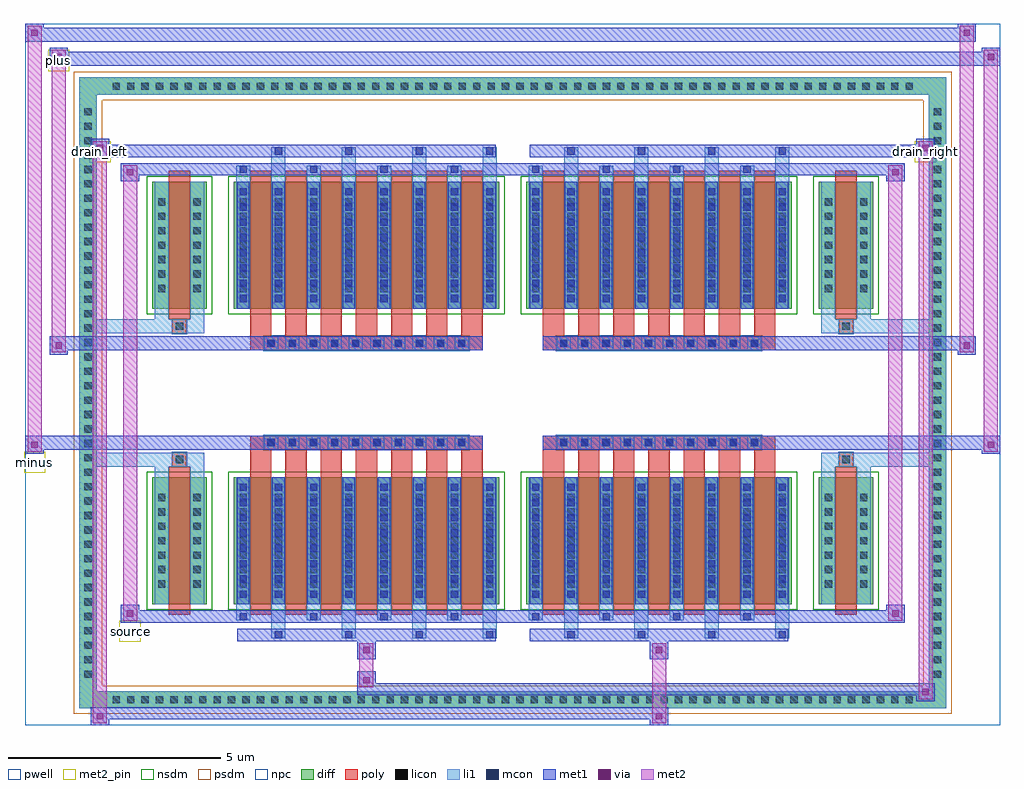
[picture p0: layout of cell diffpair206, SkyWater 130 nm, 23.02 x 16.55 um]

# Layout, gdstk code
import gdstk
lib = gdstk.Library(unit=1e-6, precision=5e-09)
def R(c, l, rs):  # rectangles x0, y0, x1, y1
    for r in rs: c.add(gdstk.rectangle(r[:2], r[2:], *l))
def A(c, l, x, y, w, h, nx, ny, dx, dy):  # array of equal rectangles
    R(c, l, [(x+i*dx, y+j*dy, x+i*dx+w, y+j*dy+h) for i in range(nx) for j in range(ny)])
def P(c, l, *ps):  # polygons
    for p in ps: c.add(gdstk.Polygon(p, *l))
pwell = (64, 44)
diff = (65, 20)
poly = (66, 20)
licon = (66, 44)
li1 = (67, 20)
mcon = (67, 44)
met1 = (68, 20)
via = (68, 44)
met2_pin = (69, 16)
met2 = (69, 20)
nsdm = (93, 44)
psdm = (94, 20)
npc = (95, 20)

diffpair206 = lib.new_cell('diffpair206')
R(diffpair206, pwell, [(-11.49,-7.84,11.49,8.71), (-8.81,-6.03,-0.01,-0.805), (0.01,-6.03,8.81,-0.805), (-8.81,0.805,-0.01,6.03), (0.01,0.805,8.81,6.03)])
A(diffpair206, diff, -9.555, -7.44, 0.41, 0.41, 56, 2, 0.34, 14.47)
A(diffpair206, diff, -10.22, -6.835, 0.41, 0.41, 1, 40, 0, 0.34)
A(diffpair206, diff, 9.81, -6.835, 0.41, 0.41, 1, 40, 0, 0.34)
R(diffpair206, diff, [(-9.555,-7.44,9.555,-7.03), (-10.22,-6.835,-9.81,6.835), (9.81,-6.835,10.22,6.835), (-8.5,-4.985,-7.22,-1.985), (-6.58,-4.985,-0.32,-1.985), (0.32,-4.985,6.58,-1.985), (7.22,-4.985,8.5,-1.985), (-8.5,1.985,-7.22,4.985), (-6.58,1.985,-0.32,4.985), (0.32,1.985,6.58,4.985), (7.22,1.985,8.5,4.985), (-9.555,7.03,9.555,7.44)])
P(diffpair206, diff, [(10.22,7.44),(-10.22,7.44),(-10.22,-7.03),(-9.81,-7.03),(-9.81,7.03),(9.81,7.03),(9.81,-7.03),(-9.81,-7.03),(-10.22,-7.03),(-10.22,-7.44),(10.22,-7.44)])
A(diffpair206, poly, -6.19, -5.235, 0.5, 3.5, 7, 2, 0.83, 6.97)
A(diffpair206, poly, 0.71, -5.235, 0.5, 3.5, 7, 2, 0.83, 6.97)
A(diffpair206, poly, -6.19, -1.735, 0.5, 0.4, 7, 2, 0.83, 3.07)
A(diffpair206, poly, 0.71, -1.735, 0.5, 0.4, 7, 2, 0.83, 3.07)
A(diffpair206, poly, -5.865, -1.335, 0.33, 0.33, 10, 2, 0.5, 2.34)
A(diffpair206, poly, 1.035, -1.335, 0.33, 0.33, 10, 2, 0.5, 2.34)
R(diffpair206, poly, [(-8.11,-5.235,-7.61,-1.735), (7.61,-5.235,8.11,-1.735), (-8.025,-1.735,-7.695,-1.405), (-8.025,-1.735,-7.695,-1.405), (7.695,-1.735,8.025,-1.405), (7.695,-1.735,8.025,-1.405), (-6.19,-1.335,-0.71,-1.005), (0.71,-1.335,6.19,-1.005), (-6.19,1.005,-0.71,1.335), (0.71,1.005,6.19,1.335), (-8.025,1.405,-7.695,1.735), (-8.025,1.405,-7.695,1.735), (7.695,1.405,8.025,1.735), (7.695,1.405,8.025,1.735), (-8.11,1.735,-7.61,5.235), (7.61,1.735,8.11,5.235)])
A(diffpair206, licon, -9.435, -7.32, 0.17, 0.17, 56, 2, 0.34, 14.47)
A(diffpair206, licon, -10.1, -6.715, 0.17, 0.17, 1, 40, 0, 0.34)
A(diffpair206, licon, 9.93, -6.715, 0.17, 0.17, 1, 40, 0, 0.34)
A(diffpair206, licon, -8.36, -4.59, 0.17, 0.17, 1, 7, 0, 0.34)
A(diffpair206, licon, -7.53, -4.59, 0.17, 0.17, 1, 7, 0, 0.34)
A(diffpair206, licon, -6.44, -4.59, 0.17, 0.17, 8, 7, 0.83, 0.34)
A(diffpair206, licon, 0.46, -4.59, 0.17, 0.17, 8, 7, 0.83, 0.34)
A(diffpair206, licon, 7.36, -4.59, 0.17, 0.17, 1, 7, 0, 0.34)
A(diffpair206, licon, 8.19, -4.59, 0.17, 0.17, 1, 7, 0, 0.34)
A(diffpair206, licon, -5.785, -1.255, 0.17, 0.17, 10, 2, 0.5, 2.34)
A(diffpair206, licon, 1.115, -1.255, 0.17, 0.17, 10, 2, 0.5, 2.34)
A(diffpair206, licon, -8.36, 2.38, 0.17, 0.17, 1, 7, 0, 0.34)
A(diffpair206, licon, -7.53, 2.38, 0.17, 0.17, 1, 7, 0, 0.34)
A(diffpair206, licon, -6.44, 2.38, 0.17, 0.17, 8, 7, 0.83, 0.34)
A(diffpair206, licon, 0.46, 2.38, 0.17, 0.17, 8, 7, 0.83, 0.34)
A(diffpair206, licon, 7.36, 2.38, 0.17, 0.17, 1, 7, 0, 0.34)
A(diffpair206, licon, 8.19, 2.38, 0.17, 0.17, 1, 7, 0, 0.34)
R(diffpair206, licon, [(-7.945,-1.655,-7.775,-1.485), (7.775,-1.655,7.945,-1.485), (-7.945,1.485,-7.775,1.655), (7.775,1.485,7.945,1.655)])
A(diffpair206, li1, -9.515, -7.4, 0.33, 0.33, 56, 2, 0.34, 14.47)
A(diffpair206, li1, -10.18, -6.795, 0.33, 0.33, 1, 40, 0, 0.34)
A(diffpair206, li1, 9.85, -6.795, 0.33, 0.33, 1, 40, 0, 0.34)
A(diffpair206, li1, -5.69, -5.79, 0.33, 0.805, 4, 2, 1.66, 10.775)
A(diffpair206, li1, -5.61, -5.79, 0.17, 0.17, 4, 2, 1.66, 11.41)
A(diffpair206, li1, 1.21, -5.79, 0.33, 0.805, 4, 2, 1.66, 10.775)
A(diffpair206, li1, 1.29, -5.79, 0.17, 0.17, 4, 2, 1.66, 11.41)
A(diffpair206, li1, -6.52, -5.36, 0.33, 0.375, 4, 2, 1.66, 10.345)
A(diffpair206, li1, -6.44, -5.36, 0.17, 0.17, 4, 2, 1.66, 10.55)
A(diffpair206, li1, 0.38, -5.36, 0.33, 0.375, 4, 2, 1.66, 10.345)
A(diffpair206, li1, 0.46, -5.36, 0.17, 0.17, 4, 2, 1.66, 10.55)
A(diffpair206, li1, -6.52, -4.985, 0.33, 3, 8, 2, 0.83, 6.97)
A(diffpair206, li1, 0.38, -4.985, 0.33, 3, 8, 2, 0.83, 6.97)
A(diffpair206, li1, -6.44, -4.83, 0.17, 0.17, 8, 8, 0.83, 0.36)
A(diffpair206, li1, -6.44, -4.83, 0.17, 2.69, 8, 2, 0.83, 6.97)
A(diffpair206, li1, 0.46, -4.83, 0.17, 0.17, 8, 8, 0.83, 0.36)
A(diffpair206, li1, 0.46, -4.83, 0.17, 2.69, 8, 2, 0.83, 6.97)
A(diffpair206, li1, -8.44, -4.67, 0.33, 0.33, 1, 7, 0, 0.34)
A(diffpair206, li1, -7.61, -4.67, 0.33, 0.33, 1, 7, 0, 0.34)
A(diffpair206, li1, -6.52, -4.67, 0.33, 0.33, 8, 7, 0.83, 0.34)
A(diffpair206, li1, 0.38, -4.67, 0.33, 0.33, 8, 7, 0.83, 0.34)
A(diffpair206, li1, 7.28, -4.67, 0.33, 0.33, 1, 7, 0, 0.34)
A(diffpair206, li1, 8.11, -4.67, 0.33, 0.33, 1, 7, 0, 0.34)
A(diffpair206, li1, -5.865, -1.335, 0.33, 0.33, 10, 2, 0.5, 2.34)
A(diffpair206, li1, 1.035, -1.335, 0.33, 0.33, 10, 2, 0.5, 2.34)
A(diffpair206, li1, -6.44, 2.14, 0.17, 0.17, 8, 8, 0.83, 0.36)
A(diffpair206, li1, 0.46, 2.14, 0.17, 0.17, 8, 8, 0.83, 0.36)
A(diffpair206, li1, -8.44, 2.3, 0.33, 0.33, 1, 7, 0, 0.34)
A(diffpair206, li1, -7.61, 2.3, 0.33, 0.33, 1, 7, 0, 0.34)
A(diffpair206, li1, -6.52, 2.3, 0.33, 0.33, 8, 7, 0.83, 0.34)
A(diffpair206, li1, 0.38, 2.3, 0.33, 0.33, 8, 7, 0.83, 0.34)
A(diffpair206, li1, 7.28, 2.3, 0.33, 0.33, 1, 7, 0, 0.34)
A(diffpair206, li1, 8.11, 2.3, 0.33, 0.33, 1, 7, 0, 0.34)
R(diffpair206, li1, [(-10.22,-7.44,-9.81,-7.03), (-10.22,-7.44,-9.81,-7.03), (-9.81,-7.44,9.81,-7.03), (9.81,-7.44,10.22,-7.03), (9.81,-7.44,10.22,-7.03), (-10.22,-7.03,-9.81,7.03), (9.81,-7.03,10.22,7.03), (-8.44,-4.985,-8.11,-1.985), (-7.61,-4.985,-7.28,-1.985), (7.28,-4.985,7.61,-1.985), (8.11,-4.985,8.44,-1.985), (-8.44,-1.985,-8.11,-1.405), (-7.61,-1.985,-7.28,-1.405), (7.28,-1.985,7.61,-1.405), (8.11,-1.985,8.44,-1.405), (-10.22,-1.735,-8.025,-1.405), (-8.44,-1.735,-8.025,-1.405), (-8.025,-1.735,-7.695,-1.405), (-7.695,-1.735,-7.28,-1.405), (7.28,-1.735,7.695,-1.405), (7.695,-1.735,8.025,-1.405), (7.695,-1.735,10.22,-1.405), (8.025,-1.735,8.44,-1.405), (-10.22,1.405,-8.025,1.735), (-8.44,1.405,-8.025,1.735), (-8.44,1.405,-8.11,1.985), (-8.025,1.405,-7.695,1.735), (-7.695,1.405,-7.28,1.735), (-7.61,1.405,-7.28,1.985), (7.28,1.405,7.695,1.735), (7.28,1.405,7.61,1.985), (7.695,1.405,8.025,1.735), (7.695,1.405,10.22,1.735), (8.025,1.405,8.44,1.735), (8.11,1.405,8.44,1.985), (-8.44,1.985,-8.11,4.985), (-7.61,1.985,-7.28,4.985), (7.28,1.985,7.61,4.985), (8.11,1.985,8.44,4.985), (-10.22,7.03,-9.81,7.44), (-10.22,7.03,-9.81,7.44), (-9.81,7.03,9.81,7.44), (9.81,7.03,10.22,7.44), (9.81,7.03,10.22,7.44)])
A(diffpair206, mcon, -5.61, -5.79, 0.17, 0.17, 4, 2, 1.66, 11.41)
A(diffpair206, mcon, 1.29, -5.79, 0.17, 0.17, 4, 2, 1.66, 11.41)
A(diffpair206, mcon, -6.44, -5.36, 0.17, 0.17, 4, 2, 1.66, 10.55)
A(diffpair206, mcon, 0.46, -5.36, 0.17, 0.17, 4, 2, 1.66, 10.55)
A(diffpair206, mcon, -6.44, -4.83, 0.17, 0.17, 8, 8, 0.83, 0.36)
A(diffpair206, mcon, 0.46, -4.83, 0.17, 0.17, 8, 8, 0.83, 0.36)
A(diffpair206, mcon, -5.785, -1.255, 0.17, 0.17, 10, 2, 0.5, 2.34)
A(diffpair206, mcon, 1.115, -1.255, 0.17, 0.17, 10, 2, 0.5, 2.34)
A(diffpair206, mcon, -6.44, 2.14, 0.17, 0.17, 8, 8, 0.83, 0.36)
A(diffpair206, mcon, 0.46, 2.14, 0.17, 0.17, 8, 8, 0.83, 0.36)
A(diffpair206, met1, -5.67, -5.85, 0.29, 0.29, 4, 2, 1.66, 11.41)
A(diffpair206, met1, 1.23, -5.85, 0.29, 0.29, 4, 2, 1.66, 11.41)
A(diffpair206, met1, -6.5, -5.42, 0.29, 0.29, 4, 2, 1.66, 10.55)
A(diffpair206, met1, 0.4, -5.42, 0.29, 0.29, 4, 2, 1.66, 10.55)
A(diffpair206, met1, -6.5, -4.985, 0.29, 3, 8, 2, 0.83, 6.97)
A(diffpair206, met1, 0.4, -4.985, 0.29, 3, 8, 2, 0.83, 6.97)
A(diffpair206, met1, -6.5, -4.89, 0.29, 0.29, 8, 8, 0.83, 0.36)
A(diffpair206, met1, 0.4, -4.89, 0.29, 0.29, 8, 8, 0.83, 0.36)
A(diffpair206, met1, -5.845, -1.315, 0.29, 0.29, 10, 2, 0.5, 2.34)
A(diffpair206, met1, 1.055, -1.315, 0.29, 0.29, 10, 2, 0.5, 2.34)
A(diffpair206, met1, -6.5, 2.08, 0.29, 0.29, 8, 8, 0.83, 0.36)
A(diffpair206, met1, 0.4, 2.08, 0.29, 0.29, 8, 8, 0.83, 0.36)
R(diffpair206, met1, [(-9.95,-7.84,-9.52,-7.41), (3.235,-7.84,3.665,-7.41), (-9.95,-7.7,3.665,-7.41), (9.52,-7.27,9.95,-6.84), (-3.665,-7.13,9.95,-6.84), (-3.665,-6.99,-3.235,-6.56), (-3.665,-6.28,-3.235,-5.85), (3.235,-6.28,3.665,-5.85), (-6.5,-5.85,-0.4,-5.56), (0.4,-5.85,6.5,-5.56), (-9.24,-5.42,-8.81,-4.99), (-9.24,-5.42,-6.5,-5.13), (-6.5,-5.42,-0.4,-5.13), (-0.4,-5.42,0.4,-5.13), (0.4,-5.42,6.5,-5.13), (6.5,-5.42,9.24,-5.13), (8.81,-5.42,9.24,-4.99), (-11.49,-1.435,-11.06,-1.005), (11.06,-1.435,11.49,-1.005), (-11.49,-1.335,-0.71,-1.005), (-6.19,-1.335,-0.71,-1.005), (0.71,-1.335,6.19,-1.005), (0.71,-1.335,11.49,-1.005), (-10.92,0.905,-10.49,1.335), (10.49,0.905,10.92,1.335), (-10.92,1.005,-6.19,1.335), (-6.19,1.005,-0.71,1.335), (0.71,1.005,6.19,1.335), (6.19,1.005,10.92,1.335), (-9.24,4.99,-8.81,5.42), (8.81,4.99,9.24,5.42), (-9.24,5.13,-6.5,5.42), (-6.5,5.13,-0.4,5.42), (-0.4,5.13,0.4,5.42), (0.4,5.13,6.5,5.42), (6.5,5.13,9.24,5.42), (-9.95,5.56,-9.52,5.99), (-9.95,5.56,-6.5,5.85), (-6.5,5.56,-0.4,5.85), (0.4,5.56,6.5,5.85), (6.5,5.56,9.95,5.85), (9.52,5.56,9.95,5.99), (-10.92,7.71,-10.49,8.14), (-10.92,7.71,-8.81,8.04), (-8.81,7.71,8.81,8.04), (8.81,7.71,11.49,8.04), (11.06,7.71,11.49,8.14), (-11.49,8.28,-11.06,8.71), (-11.49,8.28,-8.81,8.61), (-8.81,8.28,8.81,8.61), (8.81,8.28,10.92,8.61), (10.49,8.28,10.92,8.71)])
R(diffpair206, via, [(-9.81,-7.7,-9.66,-7.55), (3.375,-7.7,3.525,-7.55), (9.66,-7.13,9.81,-6.98), (-3.525,-6.85,-3.375,-6.7), (-3.525,-6.14,-3.375,-5.99), (3.375,-6.14,3.525,-5.99), (-9.1,-5.28,-8.95,-5.13), (8.95,-5.28,9.1,-5.13), (-11.35,-1.295,-11.2,-1.145), (11.2,-1.295,11.35,-1.145), (-10.78,1.045,-10.63,1.195), (10.63,1.045,10.78,1.195), (-9.1,5.13,-8.95,5.28), (8.95,5.13,9.1,5.28), (-9.81,5.7,-9.66,5.85), (9.66,5.7,9.81,5.85), (-10.78,7.85,-10.63,8), (11.2,7.85,11.35,8), (-11.35,8.42,-11.2,8.57), (10.63,8.42,10.78,8.57)])
R(diffpair206, met2_pin, [(-9.275,-5.87,-8.775,-5.37), (-11.525,-1.885,-11.025,-1.385), (-9.985,5.44,-9.485,5.94), (9.485,5.44,9.985,5.94), (-10.955,7.59,-10.455,8.09)])
R(diffpair206, met2, [(-9.9,-7.79,-9.57,-7.46), (-9.9,-7.79,-9.57,5.94), (3.285,-7.79,3.615,-7.46), (3.285,-7.46,3.615,-6.23), (9.57,-7.22,9.9,-6.89), (9.57,-7.22,9.9,5.94), (-3.615,-6.94,-3.285,-6.61), (-3.615,-6.61,-3.285,-6.23), (-3.615,-6.23,-3.285,-5.9), (3.285,-6.23,3.615,-5.9), (-9.19,-5.37,-8.86,-5.04), (-9.19,-5.37,-8.86,5.37), (8.86,-5.37,9.19,-5.04), (8.86,-5.37,9.19,5.37), (-11.44,-1.385,-11.11,-1.055), (-11.44,-1.385,-11.11,8.66), (11.11,-1.385,11.44,-1.055), (11.11,-1.385,11.44,8.09), (-10.87,0.955,-10.54,1.285), (-10.87,0.955,-10.54,8.09), (10.54,0.955,10.87,1.285), (10.54,0.955,10.87,8.66), (-9.19,5.04,-8.86,5.37), (8.86,5.04,9.19,5.37), (-9.9,5.61,-9.57,5.94), (9.57,5.61,9.9,5.94), (-10.87,7.76,-10.54,8.09), (11.11,7.76,11.44,8.09), (-11.44,8.33,-11.11,8.66), (10.54,8.33,10.87,8.66)])
P(diffpair206, met2, [(11.44,-1.385),(11.44,-1.385),(11.44,-1.055),(11.44,-1.055)],
  [(11.44,7.76),(11.44,7.76),(11.44,8.09),(11.44,8.09)],
  [(-11.11,-1.385),(-11.11,-1.385),(-11.11,-1.055),(-11.11,-1.055)],
  [(-11.11,8.33),(-11.11,8.33),(-11.11,8.66),(-11.11,8.66)],
  [(10.87,0.955),(10.87,0.955),(10.87,1.285),(10.87,1.285)],
  [(10.87,8.33),(10.87,8.33),(10.87,8.66),(10.87,8.66)],
  [(-10.54,0.955),(-10.54,0.955),(-10.54,1.285),(-10.54,1.285)],
  [(-10.54,7.76),(-10.54,7.76),(-10.54,8.09),(-10.54,8.09)],
  [(-9.57,-7.79),(-9.57,-7.79),(-9.57,-7.46),(-9.57,-7.46)],
  [(-9.57,5.61),(-9.57,5.61),(-9.57,5.94),(-9.57,5.94)],
  [(9.9,-7.22),(9.9,-7.22),(9.9,-6.89),(9.9,-6.89)],
  [(9.9,5.61),(9.9,5.61),(9.9,5.94),(9.9,5.94)],
  [(-8.86,-5.37),(-8.86,-5.37),(-8.86,-5.04),(-8.86,-5.04)],
  [(-8.86,5.04),(-8.86,5.04),(-8.86,5.37),(-8.86,5.37)],
  [(9.19,-5.37),(9.19,-5.37),(9.19,-5.04),(9.19,-5.04)],
  [(9.19,5.04),(9.19,5.04),(9.19,5.37),(9.19,5.37)])
R(diffpair206, nsdm, [(-8.63,-5.115,-7.09,-1.855), (-6.71,-5.115,-0.19,-1.855), (0.19,-5.115,6.71,-1.855), (7.09,-5.115,8.63,-1.855), (-8.63,1.855,-7.09,5.115), (-6.71,1.855,-0.19,5.115), (0.19,1.855,6.71,5.115), (7.09,1.855,8.63,5.115)])
P(diffpair206, psdm, [(10.35,7.57),(-10.35,7.57),(-10.35,-6.9),(-9.68,-6.9),(-9.68,6.9),(9.68,6.9),(9.68,-6.9),(-9.68,-6.9),(-10.35,-6.9),(-10.35,-7.57),(10.35,-7.57)])
A(diffpair206, npc, -5.885, -1.355, 0.37, 0.37, 10, 2, 0.5, 2.34)
A(diffpair206, npc, 1.015, -1.355, 0.37, 0.37, 10, 2, 0.5, 2.34)
R(diffpair206, npc, [(-8.045,-1.755,-7.675,-1.385), (7.675,-1.755,8.045,-1.385), (-5.885,-1.355,-5.015,-0.985), (-5.885,-1.355,-5.015,-0.985), (-5.385,-1.355,-4.515,-0.985), (-5.385,-1.355,-4.515,-0.985), (-4.885,-1.355,-4.015,-0.985), (-4.885,-1.355,-4.015,-0.985), (-4.385,-1.355,-3.515,-0.985), (-4.385,-1.355,-3.515,-0.985), (-3.885,-1.355,-3.015,-0.985), (-3.885,-1.355,-3.015,-0.985), (-3.385,-1.355,-2.515,-0.985), (-3.385,-1.355,-2.515,-0.985), (-2.885,-1.355,-2.015,-0.985), (-2.885,-1.355,-2.015,-0.985), (-2.385,-1.355,-1.515,-0.985), (-2.385,-1.355,-1.515,-0.985), (-1.885,-1.355,-1.015,-0.985), (-1.885,-1.355,-1.015,-0.985), (1.015,-1.355,1.885,-0.985), (1.015,-1.355,1.885,-0.985), (1.515,-1.355,2.385,-0.985), (1.515,-1.355,2.385,-0.985), (2.015,-1.355,2.885,-0.985), (2.015,-1.355,2.885,-0.985), (2.515,-1.355,3.385,-0.985), (2.515,-1.355,3.385,-0.985), (3.015,-1.355,3.885,-0.985), (3.015,-1.355,3.885,-0.985), (3.515,-1.355,4.385,-0.985), (3.515,-1.355,4.385,-0.985), (4.015,-1.355,4.885,-0.985), (4.015,-1.355,4.885,-0.985), (4.515,-1.355,5.385,-0.985), (4.515,-1.355,5.385,-0.985), (5.015,-1.355,5.885,-0.985), (5.015,-1.355,5.885,-0.985), (-5.885,0.985,-5.015,1.355), (-5.885,0.985,-5.015,1.355), (-5.385,0.985,-4.515,1.355), (-5.385,0.985,-4.515,1.355), (-4.885,0.985,-4.015,1.355), (-4.885,0.985,-4.015,1.355), (-4.385,0.985,-3.515,1.355), (-4.385,0.985,-3.515,1.355), (-3.885,0.985,-3.015,1.355), (-3.885,0.985,-3.015,1.355), (-3.385,0.985,-2.515,1.355), (-3.385,0.985,-2.515,1.355), (-2.885,0.985,-2.015,1.355), (-2.885,0.985,-2.015,1.355), (-2.385,0.985,-1.515,1.355), (-2.385,0.985,-1.515,1.355), (-1.885,0.985,-1.015,1.355), (-1.885,0.985,-1.015,1.355), (1.015,0.985,1.885,1.355), (1.015,0.985,1.885,1.355), (1.515,0.985,2.385,1.355), (1.515,0.985,2.385,1.355), (2.015,0.985,2.885,1.355), (2.015,0.985,2.885,1.355), (2.515,0.985,3.385,1.355), (2.515,0.985,3.385,1.355), (3.015,0.985,3.885,1.355), (3.015,0.985,3.885,1.355), (3.515,0.985,4.385,1.355), (3.515,0.985,4.385,1.355), (4.015,0.985,4.885,1.355), (4.015,0.985,4.885,1.355), (4.515,0.985,5.385,1.355), (4.515,0.985,5.385,1.355), (5.015,0.985,5.885,1.355), (5.015,0.985,5.885,1.355), (-8.045,1.385,-7.675,1.755), (7.675,1.385,8.045,1.755)])
diffpair206.add(gdstk.Label('minus', (-11.275,-1.635), layer=69, texttype=5))
diffpair206.add(gdstk.Label('drain_right', (9.735,5.69), layer=69, texttype=5))
diffpair206.add(gdstk.Label('drain_left', (-9.735,5.69), layer=69, texttype=5))
diffpair206.add(gdstk.Label('source', (-9.025,-5.62), layer=69, texttype=5))
diffpair206.add(gdstk.Label('plus', (-10.705,7.84), layer=69, texttype=5))

lib.write_gds('diffpair206.gds')
